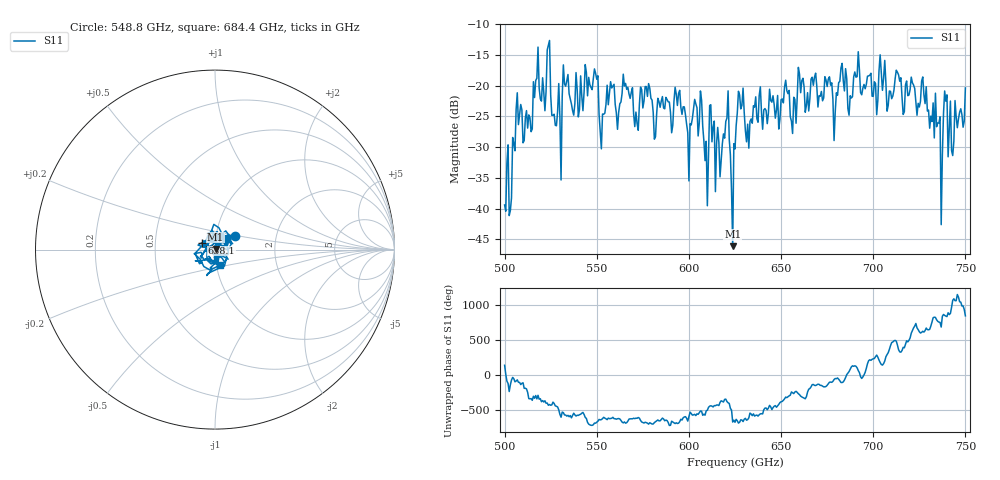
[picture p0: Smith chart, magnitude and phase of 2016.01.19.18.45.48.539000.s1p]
!Created with skrf (http://scikit-rf.org).
# GHz S RI R 50.0
!freq ReS11 ImS11
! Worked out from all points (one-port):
!   401 points, 500 GHz to 750 GHz, reference 50 ohm
!   lowest |S11| = -46.1 dB at 623.8 GHz (marker M1), VSWR 1.01, Z = 50.3 + j0.373 ohm
!   |S11| at or under -10 dB: start of sweep to end of sweep
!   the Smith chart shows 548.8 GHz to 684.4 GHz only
!   S11 on the Smith chart (normalised r, x): 548.8 GHz: 1.24, +0.19; 638.1 GHz: 0.86, +0.07; 684.4 GHz: 1.04, -0.18
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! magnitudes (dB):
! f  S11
! 500 GHz  -39.4
! 507.5 GHz  -26.3
! 513.8 GHz  -25.2
! 516.9 GHz  -19.2
! 531.2 GHz  -21.9
! 548.8 GHz  -17.3
! 552.5 GHz  -30.3
! 562.5 GHz  -23.0
! 593.8 GHz  -23.2
! 600 GHz  -35.5
! 606.9 GHz  -22.4
! 609.4 GHz  -29.1
! 612.5 GHz  -29.1
! 615.6 GHz  -26.8
! 620.6 GHz  -25.3
! 623.8 GHz  -46.1
! 625 GHz  -30.3
! 628.1 GHz  -23.8
! 631.9 GHz  -26.3
! 638.1 GHz  -21.7
! 656.2 GHz  -27.8
! 684.4 GHz  -20.9
! 687.5 GHz  -21.7
! 691.2 GHz  -18.6
! 718.8 GHz  -21.6
! 727.5 GHz  -21.5
! 736.2 GHz  -25.1
! 750 GHz  -20.4
